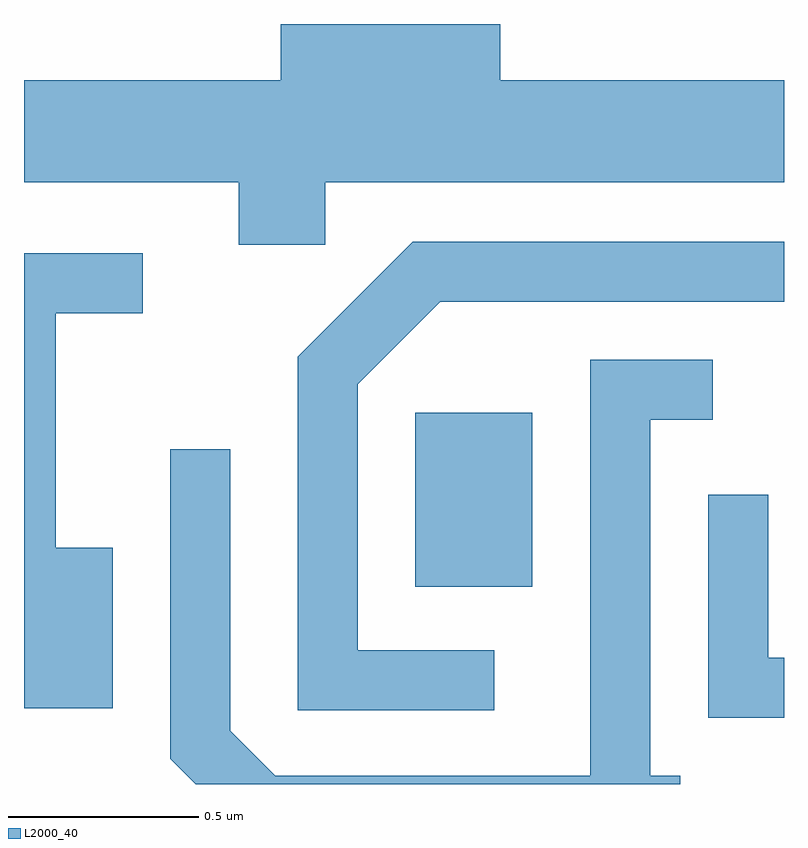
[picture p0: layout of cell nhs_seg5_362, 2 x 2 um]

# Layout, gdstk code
import gdstk
lib = gdstk.Library(unit=1e-6, precision=1e-09)
def R(c, l, rs):  # rectangles x0, y0, x1, y1
    for r in rs: c.add(gdstk.rectangle(r[:2], r[2:], *l))
def P(c, l, *ps):  # polygons
    for p in ps: c.add(gdstk.Polygon(p, *l))
L2000_40 = (2000, 40)

nhs_seg5_362 = lib.new_cell('nhs_seg5_362')
R(nhs_seg5_362, L2000_40, [(188.641,1484.591,188.949,1485.049)])
P(nhs_seg5_362, L2000_40, [(188.404,1485.656),(189.611,1485.656),(189.611,1485.924),(188.864,1485.924),(188.864,1486.072),(188.286,1486.072),(188.286,1485.924),(187.611,1485.924),(187.611,1485.656),(188.176,1485.656),(188.176,1485.491),(188.404,1485.491)],
  [(188.848,1484.424),(188.489,1484.424),(188.489,1485.124),(188.707,1485.341),(189.611,1485.341),(189.611,1485.499),(188.634,1485.499),(188.331,1485.197),(188.331,1484.266),(188.848,1484.266)],
  [(187.844,1484.694),(187.694,1484.694),(187.694,1485.311),(187.923,1485.311),(187.923,1485.469),(187.611,1485.469),(187.611,1484.271),(187.844,1484.271)],
  [(189.338,1484.094),(189.259,1484.094),(189.259,1485.031),(189.423,1485.031),(189.423,1485.189),(189.101,1485.189),(189.101,1484.094),(188.272,1484.094),(188.154,1484.212),(188.154,1484.953),(187.996,1484.953),(187.996,1484.139),(188.063,1484.072),(189.338,1484.072)],
  [(189.611,1484.404),(189.569,1484.404),(189.569,1484.833),(189.411,1484.833),(189.411,1484.246),(189.611,1484.246)])

lib.write_gds('nhs_seg5_362.gds')
